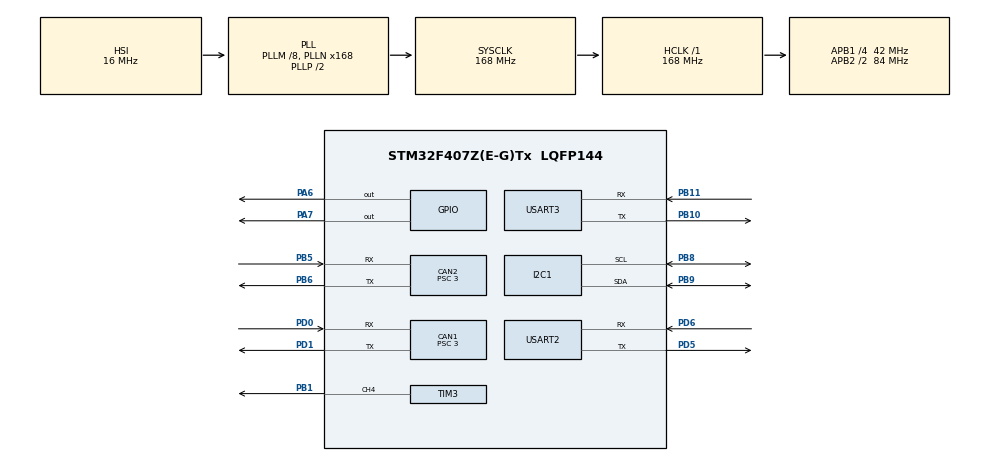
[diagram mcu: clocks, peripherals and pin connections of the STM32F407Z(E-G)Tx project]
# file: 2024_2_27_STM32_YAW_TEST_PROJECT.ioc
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CAN1.BS1=CAN_BS1_9TQ
CAN1.BS2=CAN_BS2_4TQ
CAN1.CalculateBaudRate=1000000
CAN1.CalculateTimeBit=1000
CAN1.CalculateTimeQuantum=71.42857142857143
CAN1.Prescaler=3
CAN2.BS1=CAN_BS1_9TQ
CAN2.BS2=CAN_BS2_4TQ
CAN2.CalculateBaudRate=1000000
CAN2.CalculateTimeBit=1000
CAN2.CalculateTimeQuantum=71.42857142857143
CAN2.Prescaler=3
Dma.I2C1_RX.2.Direction=DMA_PERIPH_TO_MEMORY
Dma.I2C1_RX.2.FIFOMode=DMA_FIFOMODE_DISABLE
Dma.I2C1_RX.2.Instance=DMA1_Stream0
Dma.I2C1_RX.2.MemDataAlignment=DMA_MDATAALIGN_BYTE
Dma.I2C1_RX.2.MemInc=DMA_MINC_ENABLE
Dma.I2C1_RX.2.Mode=DMA_NORMAL
Dma.I2C1_RX.2.PeriphDataAlignment=DMA_PDATAALIGN_BYTE
Dma.I2C1_RX.2.PeriphInc=DMA_PINC_DISABLE
Dma.I2C1_RX.2.Priority=DMA_PRIORITY_LOW
Dma.I2C1_TX.3.Direction=DMA_MEMORY_TO_PERIPH
Dma.I2C1_TX.3.FIFOMode=DMA_FIFOMODE_DISABLE
Dma.I2C1_TX.3.Instance=DMA1_Stream7
Dma.I2C1_TX.3.MemDataAlignment=DMA_MDATAALIGN_BYTE
Dma.I2C1_TX.3.MemInc=DMA_MINC_ENABLE
Dma.I2C1_TX.3.Mode=DMA_NORMAL
Dma.I2C1_TX.3.PeriphDataAlignment=DMA_PDATAALIGN_BYTE
Dma.I2C1_TX.3.PeriphInc=DMA_PINC_DISABLE
Dma.I2C1_TX.3.Priority=DMA_PRIORITY_LOW
Dma.Request0=USART3_RX
Dma.Request1=USART3_TX
Dma.Request2=I2C1_RX
Dma.Request3=I2C1_TX
Dma.Request4=USART2_RX
Dma.Request5=USART2_TX
Dma.USART2_RX.4.Direction=DMA_PERIPH_TO_MEMORY
Dma.USART2_RX.4.FIFOMode=DMA_FIFOMODE_DISABLE
Dma.USART2_RX.4.Instance=DMA1_Stream5
Dma.USART2_RX.4.MemDataAlignment=DMA_MDATAALIGN_BYTE
Dma.USART2_RX.4.MemInc=DMA_MINC_ENABLE
Dma.USART2_RX.4.Mode=DMA_NORMAL
Dma.USART2_RX.4.PeriphDataAlignment=DMA_PDATAALIGN_BYTE
Dma.USART2_RX.4.PeriphInc=DMA_PINC_DISABLE
Dma.USART2_RX.4.Priority=DMA_PRIORITY_LOW
Dma.USART2_TX.5.Direction=DMA_MEMORY_TO_PERIPH
Dma.USART2_TX.5.FIFOMode=DMA_FIFOMODE_DISABLE
Dma.USART2_TX.5.Instance=DMA1_Stream6
Dma.USART2_TX.5.MemDataAlignment=DMA_MDATAALIGN_BYTE
Dma.USART2_TX.5.MemInc=DMA_MINC_ENABLE
Dma.USART2_TX.5.Mode=DMA_NORMAL
Dma.USART2_TX.5.PeriphDataAlignment=DMA_PDATAALIGN_BYTE
Dma.USART2_TX.5.PeriphInc=DMA_PINC_DISABLE
Dma.USART2_TX.5.Priority=DMA_PRIORITY_LOW
Dma.USART3_RX.0.Direction=DMA_PERIPH_TO_MEMORY
Dma.USART3_RX.0.FIFOMode=DMA_FIFOMODE_DISABLE
Dma.USART3_RX.0.Instance=DMA1_Stream1
Dma.USART3_RX.0.MemDataAlignment=DMA_MDATAALIGN_BYTE
Dma.USART3_RX.0.MemInc=DMA_MINC_ENABLE
Dma.USART3_RX.0.Mode=DMA_NORMAL
Dma.USART3_RX.0.PeriphDataAlignment=DMA_PDATAALIGN_BYTE
Dma.USART3_RX.0.PeriphInc=DMA_PINC_DISABLE
Dma.USART3_RX.0.Priority=DMA_PRIORITY_LOW
Dma.USART3_TX.1.Direction=DMA_MEMORY_TO_PERIPH
Dma.USART3_TX.1.FIFOMode=DMA_FIFOMODE_DISABLE
Dma.USART3_TX.1.Instance=DMA1_Stream3
Dma.USART3_TX.1.MemDataAlignment=DMA_MDATAALIGN_BYTE
Dma.USART3_TX.1.MemInc=DMA_MINC_ENABLE
Dma.USART3_TX.1.Mode=DMA_NORMAL
Dma.USART3_TX.1.PeriphDataAlignment=DMA_PDATAALIGN_BYTE
Dma.USART3_TX.1.PeriphInc=DMA_PINC_DISABLE
Dma.USART3_TX.1.Priority=DMA_PRIORITY_LOW
I2C1.AddressingMode=I2C_ADDRESSINGMODE_10BIT
I2C1.DutyCycle=I2C_DUTYCYCLE_16_9
I2C1.I2C_Mode=I2C_Fast
Mcu.Family=STM32F4
Mcu.Name=STM32F407Z(E-G)Tx
Mcu.Package=LQFP144
NVIC.CAN1_RX0_IRQn=true\:0\:0\:true\:false\:true\:true\:true\:true
NVIC.CAN1_TX_IRQn=true\:0\:0\:true\:false\:true\:true\:true\:true
NVIC.CAN2_RX0_IRQn=true\:0\:0\:true\:false\:true\:true\:true\:true
NVIC.CAN2_TX_IRQn=true\:0\:0\:true\:false\:true\:true\:true\:true
NVIC.DMA1_Stream0_IRQn=true\:0\:0\:false\:false\:true\:false\:true\:true
NVIC.DMA1_Stream1_IRQn=true\:0\:0\:false\:false\:true\:false\:true\:true
NVIC.DMA1_Stream3_IRQn=true\:0\:0\:false\:false\:true\:false\:true\:true
NVIC.DMA1_Stream5_IRQn=true\:0\:0\:false\:false\:true\:false\:true\:true
NVIC.DMA1_Stream6_IRQn=true\:0\:0\:false\:false\:true\:false\:true\:true
NVIC.DMA1_Stream7_IRQn=true\:0\:0\:false\:false\:true\:false\:true\:true
NVIC.I2C1_ER_IRQn=true\:2\:0\:true\:false\:true\:true\:true\:true
NVIC.I2C1_EV_IRQn=true\:2\:0\:true\:false\:true\:true\:true\:true
NVIC.PriorityGroup=NVIC_PRIORITYGROUP_4
NVIC.TIM1_UP_TIM10_IRQn=true\:0\:0\:false\:false\:true\:true\:true\:true
NVIC.USART2_IRQn=true\:1\:0\:true\:false\:true\:true\:true\:true
NVIC.USART3_IRQn=true\:1\:0\:true\:false\:true\:true\:true\:true
PA13.Mode=Serial_Wire
PA13.Signal=SYS_JTMS-SWDIO
PA14.Mode=Serial_Wire
PA14.Signal=SYS_JTCK-SWCLK
PA6.GPIO_PuPd=GPIO_PULLDOWN
PA6.Signal=GPIO_Output
PA7.GPIO_PuPd=GPIO_PULLDOWN
PA7.Signal=GPIO_Output
PB1.Signal=S_TIM3_CH4
PB10.Mode=Asynchronous
PB10.Signal=USART3_TX
PB11.Mode=Asynchronous
PB11.Signal=USART3_RX
PB5.Mode=CAN_Activate
PB5.Signal=CAN2_RX
PB6.Mode=CAN_Activate
PB6.Signal=CAN2_TX
PB8.Mode=I2C
PB8.Signal=I2C1_SCL
PB9.Mode=I2C
PB9.Signal=I2C1_SDA
PD0.Mode=CAN_Activate
PD0.Signal=CAN1_RX
PD1.Mode=CAN_Activate
PD1.Signal=CAN1_TX
PD5.Mode=Asynchronous
PD5.Signal=USART2_TX
PD6.Mode=Asynchronous
PD6.Signal=USART2_RX
PH0-OSC_IN.Mode=HSE-External-Oscillator
PH0-OSC_IN.Signal=RCC_OSC_IN
PH1-OSC_OUT.Mode=HSE-External-Oscillator
PH1-OSC_OUT.Signal=RCC_OSC_OUT
ProjectManager.HeapSize=0x200
ProjectManager.StackSize=0x400
ProjectManager.TargetToolchain=MDK-ARM V5.32
RCC.48MHZClocksFreq_Value=84000000
RCC.AHBFreq_Value=168000000
RCC.APB1CLKDivider=RCC_HCLK_DIV4
RCC.APB1Freq_Value=42000000
RCC.APB1TimFreq_Value=84000000
RCC.APB2CLKDivider=RCC_HCLK_DIV2
RCC.APB2Freq_Value=84000000
RCC.APB2TimFreq_Value=168000000
RCC.CortexFreq_Value=168000000
RCC.HCLKFreq_Value=168000000
RCC.HSE_VALUE=25000000
RCC.HSI_VALUE=16000000
RCC.LSE_VALUE=32768
RCC.PLLM=8
RCC.PLLN=168
RCC.SYSCLKFreq_VALUE=168000000
RCC.SYSCLKSource=RCC_SYSCLKSOURCE_PLLCLK
RCC.VCOOutputFreq_Value=336000000
SH.S_TIM3_CH4.0=TIM3_CH4,PWM Generation4 CH4
TIM10.Period=1000
TIM10.Prescaler=168-1
TIM3.Channel-PWM\ Generation4\ CH4=TIM_CHANNEL_4
TIM3.Period=20000-1
TIM3.Prescaler=84-1
TIM3.Pulse-PWM\ Generation4\ CH4=15500
USART2.VirtualMode=VM_ASYNC
USART3.VirtualMode=VM_ASYNC
VP_TIM10_VS_ClockSourceINT.Mode=Enable_Timer
board=custom

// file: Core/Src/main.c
/* USER CODE BEGIN Header */
/**
  ******************************************************************************
  * @file           : main.c
  * @brief          : Main program body
  ******************************************************************************
  * @attention
  *
  * Copyright (c) 2024 STMicroelectronics.
  * All rights reserved.
  *
  * This software is licensed under terms that can be found in the LICENSE file
  * in the root directory of this software component.
  * If no LICENSE file comes with this software, it is provided AS-IS.
  *
  ******************************************************************************
  */
/* USER CODE END Header */
#include "main.h"
#include "can.h"
#include "dma.h"
#include "i2c.h"
#include "tim.h"
#include "usart.h"
#include "gpio.h"

/* USER CODE BEGIN Includes */
#include "PID_MODEL.h"
#include "arm_math.h"
#include "bsp_can.h"
#include "CALCULATE.h"
#include "new_logic.h"
/* USER CODE END Includes */

/* USER CODE BEGIN PTD */
extern motor_measure_t *motor_data_can2[8];
/* USER CODE END PTD */

/* USER CODE BEGIN PD */

/**
  ******************************************************************************
  * @attention
  *
  *	check moto id before use the project
  *
  *	2006 ID 1
  *	3508 ID 0
  *
  ******************************************************************************
  */

/*------------------------------------------------------------------------------
	PID
	PID value
------------------------------------------------------------------------------*/
//angle target(uncalculated)
float YAW_TGT[8] = {0};
float M_3508_YAW_TGT=0;
float SPD_TGT[8] = {0};//{-500,500}
//angle target(calculated)
float ANG_TGT[8] = {0};
float current_ang=0;
int can_output[8] = {0};

uint8_t FLAG=0;

/*------------------------------------------------------------------------------
	controller value
------------------------------------------------------------------------------*/
//struct
DataPacket DataRe_ESP;
DataPacket DataRe_LORA;
//rocker value
int16_t lx_ESP ,ly_ESP,rx_ESP,ry_ESP,lp_ESP,rp_ESP;
int16_t lx_LORA ,ly_LORA,rx_LORA,ry_LORA,lp_LORA,rp_LORA;
//bottom value
uint8_t B1_ESP,B2_ESP;
uint8_t B1_LORA,B2_LORA;

uint8_t Cal_Parity_ESP;
uint8_t Cal_Parity_LORA;
//FALG
uint8_t USART_FLAG_ESP=0;
uint8_t USART_FLAG_LORA=0;

/*------------------------------------------------------------------------------
	target_monitor
------------------------------------------------------------------------------*/
float current_target[8]={0};
float target_error[8]={0};
float test_target=0;

uint16_t HT_moto_yaw=0;
uint8_t catch_en=1;
uint8_t LOGIC_FLAG=0;
enum state current_state=init;
enum state next_state=init;
uint8_t I2C_TRANS_FLAG=0;
uint8_t M_3508_TRANS_FLAG=0;
uint8_t HIGH_TROQUE_TRANS_FLAG=0;
uint8_t SERVO_FLAG=0;
uint8_t SWITCH_SERVO=0;

uint8_t GPIO_CHANGE_STATE_1;
uint8_t GPIO_CHANGE_STATE_2;
uint8_t GPIO_CHANGE_FLAG=0;
MotorExtentTypeDef motorExtent = {
  .state = 0xab,
};
/* USER CODE END PD */

void SystemClock_Config(void);

int main(void)
{

  /* MCU Configuration--------------------------------------------------------*/

  /* Reset of all peripherals, Initializes the Flash interface and the Systick. */
  HAL_Init();

  /* Configure the system clock */
  SystemClock_Config();

  /* Initialize all configured peripherals */
  MX_GPIO_Init();
  MX_DMA_Init();
  MX_TIM10_Init();
  MX_USART3_UART_Init();
  MX_TIM3_Init();
  MX_CAN1_Init();
  MX_CAN2_Init();
  MX_I2C1_Init();
  MX_USART2_UART_Init();
  /* USER CODE BEGIN 2 */
	PID_MODEL_initialize();

	HAL_TIM_Base_Start_IT(&htim10);

	//PWM start
	HAL_TIM_PWM_Start(&htim3,TIM_CHANNEL_4);
	//CAN init
	can_filter_init();
	HAL_CAN_Start(&hcan2);
	HAL_CAN_ActivateNotification(&hcan2, CAN_IT_RX_FIFO0_MSG_PENDING);
	//DMA start
	HAL_UART_Receive_DMA(&huart3, (uint8_t*)&DataRe_ESP,1);
	HAL_UART_Receive_DMA(&huart2, (uint8_t*)&DataRe_LORA,1);
	/*PID*/

	/*2006*/
	//SPD
  rtP.SPD_P_CH2_4 = 0.6901*3 ;
  rtP.SPD_I_CH2_4 = 2.3727*0.8;
  rtP.SPD_D_CH2_4 = 0.0126;
	// rtP.ANG_S_P_CH2_4 = 0.6901*0.7 ;
	// rtP.ANG_S_I_CH2_4 = 2.3727*0.11;
	// rtP.ANG_S_D_CH2_4 = 0.0126;
	// //ANG
	// rtP.ANG_A_P_CH2_4 = 0.83005*0.6 ;
	// rtP.ANG_A_I_CH2_4 = 0.38548*0.02 ;
	// rtP.ANG_A_D_CH2_4 = 0.051858 ;

	/*3508*/
	//SPD
	rtP.ANG_S_P_CH2_3 = 0.6901*0.75 ;
	rtP.ANG_S_I_CH2_3 = 2.3727*0.17;
	rtP.ANG_S_D_CH2_3 = 0.01;
	//ANG
	rtP.ANG_A_P_CH2_3 = 0.83005*0.85 ;
	rtP.ANG_A_I_CH2_3 = 0.38548*0.02 ;
	rtP.ANG_A_D_CH2_3 = 0.04 ;

	//����
	rtP.DEADBAND_CH2_3 = 800;
	rtP.DEADBAND_CH2_4 = 800;
	rtP.TRANS_CH2_3  = 0.1;
	rtP.TRANS_CH2_4  = 0.1;
	//__HAL_TIM_SET_COMPARE(&htim3, TIM_CHANNEL_4, 17000);  // ����ɿ�?????

	HAL_Delay(500);
  /* USER CODE END 2 */

  /* Infinite loop */
  /* USER CODE BEGIN WHILE */
  while (1)
  {

    task_yaw_catch();

    // if(M_3508_TRANS_FLAG==1){
    //   YAW_TGT[M_3508] = M_3508_YAW_TGT;
    //   M_3508_TRANS_FLAG=0;
    // }

    // switch(GPIO_CHANGE_FLAG){
    //   case 1:
    //     HAL_GPIO_WritePin(GPIOA, GPIO_PIN_6, GPIO_PIN_SET);
    //     break;
    //   case 2:
    //     HAL_GPIO_WritePin(GPIOA, GPIO_PIN_6, GPIO_PIN_RESET);
    //     break;
    //   case 3:
    //     HAL_GPIO_WritePin(GPIOA, GPIO_PIN_7, GPIO_PIN_RESET);
    //     break;
    //   case 4:
    //     HAL_GPIO_WritePin(GPIOA, GPIO_PIN_7, GPIO_PIN_SET);
    //     break;
    //   default:
    //     break;
    // }

	//   LOGIC();

    /* USER CODE END WHILE */

  }
}

void SystemClock_Config(void)
{
  RCC_OscInitTypeDef RCC_OscInitStruct = {0};
  RCC_ClkInitTypeDef RCC_ClkInitStruct = {0};

  /** Configure the main internal regulator output voltage
  */
  __HAL_RCC_PWR_CLK_ENABLE();
  __HAL_PWR_VOLTAGESCALING_CONFIG(PWR_REGULATOR_VOLTAGE_SCALE1);

  /** Initializes the RCC Oscillators according to the specified parameters
  * in the RCC_OscInitTypeDef structure.
  */
  RCC_OscInitStruct.OscillatorType = RCC_OSCILLATORTYPE_HSI;
  RCC_OscInitStruct.HSIState = RCC_HSI_ON;
  RCC_OscInitStruct.HSICalibrationValue = RCC_HSICALIBRATION_DEFAULT;
  RCC_OscInitStruct.PLL.PLLState = RCC_PLL_ON;
  RCC_OscInitStruct.PLL.PLLSource = RCC_PLLSOURCE_HSI;
  RCC_OscInitStruct.PLL.PLLM = 8;
  RCC_OscInitStruct.PLL.PLLN = 168;
  RCC_OscInitStruct.PLL.PLLP = RCC_PLLP_DIV2;
  RCC_OscInitStruct.PLL.PLLQ = 4;
  if (HAL_RCC_OscConfig(&RCC_OscInitStruct) != HAL_OK)
  {
    Error_Handler();
  }

  /** Initializes the CPU, AHB and APB buses clocks
  */
  RCC_ClkInitStruct.ClockType = RCC_CLOCKTYPE_HCLK|RCC_CLOCKTYPE_SYSCLK
                              |RCC_CLOCKTYPE_PCLK1|RCC_CLOCKTYPE_PCLK2;
  RCC_ClkInitStruct.SYSCLKSource = RCC_SYSCLKSOURCE_PLLCLK;
  RCC_ClkInitStruct.AHBCLKDivider = RCC_SYSCLK_DIV1;
  RCC_ClkInitStruct.APB1CLKDivider = RCC_HCLK_DIV4;
  RCC_ClkInitStruct.APB2CLKDivider = RCC_HCLK_DIV2;

  if (HAL_RCC_ClockConfig(&RCC_ClkInitStruct, FLASH_LATENCY_5) != HAL_OK)
  {
    Error_Handler();
  }
}

/* USER CODE BEGIN 4 */
void HAL_TIM_PeriodElapsedCallback(TIM_HandleTypeDef *htim)
{

	if(htim == &htim10)
	{
    if(HIGH_TROQUE_TRANS_FLAG){
      if(HAL_I2C_Master_Transmit_DMA(&hi2c1, (uint16_t)I2C_SLAVE_ADDRESS, (uint8_t *)&motorExtent, sizeof(motorExtent))!= HAL_OK)
      {
        /* Error_Handler() function is called when Timeout error occurs.
          When Acknowledge failure occurs (Slave don't acknowledge it's address)
          Master restarts communication */
        if (HAL_I2C_GetError(&hi2c1) != HAL_I2C_ERROR_AF)
        {
          Error_Handler();
        }
      }else{
        HIGH_TROQUE_TRANS_FLAG=0;
      }

    }

    if(SERVO_FLAG){
      switch(SWITCH_SERVO){
        case 1:
        HAL_GPIO_WritePin(GPIOA, GPIO_PIN_6, GPIO_PIN_SET);
        break;
        case 2:
        HAL_GPIO_WritePin(GPIOA, GPIO_PIN_6, GPIO_PIN_RESET);
        break;
        case 3:
        HAL_GPIO_WritePin(GPIOA, GPIO_PIN_7, GPIO_PIN_SET);
        break;
        case 4:
        HAL_GPIO_WritePin(GPIOA, GPIO_PIN_7, GPIO_PIN_RESET);
        break;
        default:
        break;
      }
    }
//		target_monitor();
		/* 3508 */
		ANG_TGT[M_3508]  = YAW_TGT[M_3508] * 3591 * 8191/(187 * 360) ;
		rtU.yaw_status_CH2_3    = 2 ;// ANG
		rtU.yaw_target_CH2_3    = ANG_TGT[M_3508];
		rtU.yaw_circle_CH2_3    = motor_data_can2[M_3508]->circle;
		can_output[M_3508] = rtY.yaw_ANG_OUT_CH2_3 ;
		rtU.yaw_speed_rpm_CH2_3 = motor_data_can2[M_3508]->speed_rpm;
		rtU.yaw_ecd_CH2_3       = motor_data_can2[M_3508]->ecd;
		rtU.yaw_last_ecd_CH2_3  = motor_data_can2[M_3508]->last_ecd;
		/* OUT PUT */
		motor_data_can2[M_3508]->circle = rtU.yaw_circle_CH2_3;

		/* 2006 */
		ANG_TGT[M_2006]  = YAW_TGT[M_2006] * 36 * 8191 * 2 /( 1 * 360) ;
		rtU.yaw_status_CH2_4    = 1 ;// ANG
		rtU.yaw_target_CH2_4    = SPD_TGT[M_2006];
		rtU.yaw_circle_CH2_4    = motor_data_can2[M_2006]->circle;
		can_output[M_2006] = rtY.yaw_SPD_OUT_CH2_4 ;
		rtU.yaw_speed_rpm_CH2_4 = motor_data_can2[M_2006]->speed_rpm;
		rtU.yaw_ecd_CH2_4       = motor_data_can2[M_2006]->ecd;
		rtU.yaw_last_ecd_CH2_4  = motor_data_can2[M_2006]->last_ecd;
		/* OUT PUT */
		motor_data_can2[M_2006]->circle = rtU.yaw_circle_CH2_4;

//		test_target=motor_data_can2[M_2006]->speed_rpm;
//		test_target=((motor_data_can2[M_2006]->ecd)+(motor_data_can2[M_2006]->circle)*8191)*( 1 * 360)/(2 * 8191 * 36);
//		if (test_target<0)
//		{
//			test_target=0;
//		}

		PID_MODEL_step();

		CAN2_cmd_chassis(can_output[M_3508],can_output[M_2006],0,0,0,0,0,0);

		motor_state_update_can2();

	}

}

//ң��������
void HAL_UART_RxCpltCallback(UART_HandleTypeDef *huart) {
		if (huart->Instance == USART3)
    {
		  if(DataRe_ESP.header==0xAA && USART_FLAG_ESP==0)
		  {
		  	CAL_MESSAGE_ESP();
		  	HAL_UART_Receive_DMA(&huart3, (uint8_t*)&DataRe_ESP+1, sizeof(DataPacket)-1);
		  	USART_FLAG_ESP=1;
		  }
		  else if(DataRe_ESP.header==0xAA && USART_FLAG_ESP==1)
		  {
		  	CAL_MESSAGE_ESP();
		  	HAL_UART_Receive_DMA(&huart3, (uint8_t*)&DataRe_ESP, sizeof(DataPacket));
		  }
      else
      {
        HAL_UART_Receive_DMA(&huart3, (uint8_t*)&DataRe_ESP, 1);
        USART_FLAG_ESP=0;
      }
    }
    //   //LORA
    // if (huart->Instance == USART2)
    // {
		//   if(DataRe_LORA.header==0xAA && USART_FLAG_LORA==0)
		//   {
		//   	CAL_MESSAGE_LORA();
		//   	HAL_UART_Receive_DMA(&huart2, (uint8_t*)&DataRe_LORA+1, sizeof(DataPacket)-1);
		//   	USART_FLAG_LORA=1;
		//   }
		//   if(DataRe_LORA.header==0xAA && USART_FLAG_LORA==1)
		//   {
		//   	CAL_MESSAGE_LORA();
		//   	HAL_UART_Receive_DMA(&huart2, (uint8_t*)&DataRe_LORA, sizeof(DataPacket));
		//   }
		//   else
		//   {
		//   	HAL_UART_Receive_DMA(&huart2, (uint8_t*)&DataRe_LORA, 1);
		//   	USART_FLAG_LORA=0;
		//   }
	  // }
}

void HAL_UART_ErrorCallback(UART_HandleTypeDef *huart)
{
    if (huart->Instance == USART3)
    {
		  HAL_UART_Receive_DMA(&huart3, (uint8_t*)&DataRe_ESP, 1);
		  USART_FLAG_ESP=0;
    }

    // if (huart->Instance == USART2)
    // {
		//   HAL_UART_Receive_DMA(&huart2, (uint8_t*)&DataRe_LORA, 1);
		//   USART_FLAG_LORA=0;
    // }
}

/* USER CODE END 4 */

void Error_Handler(void)
{
  __disable_irq();
  while (1)
  {
  }
}
